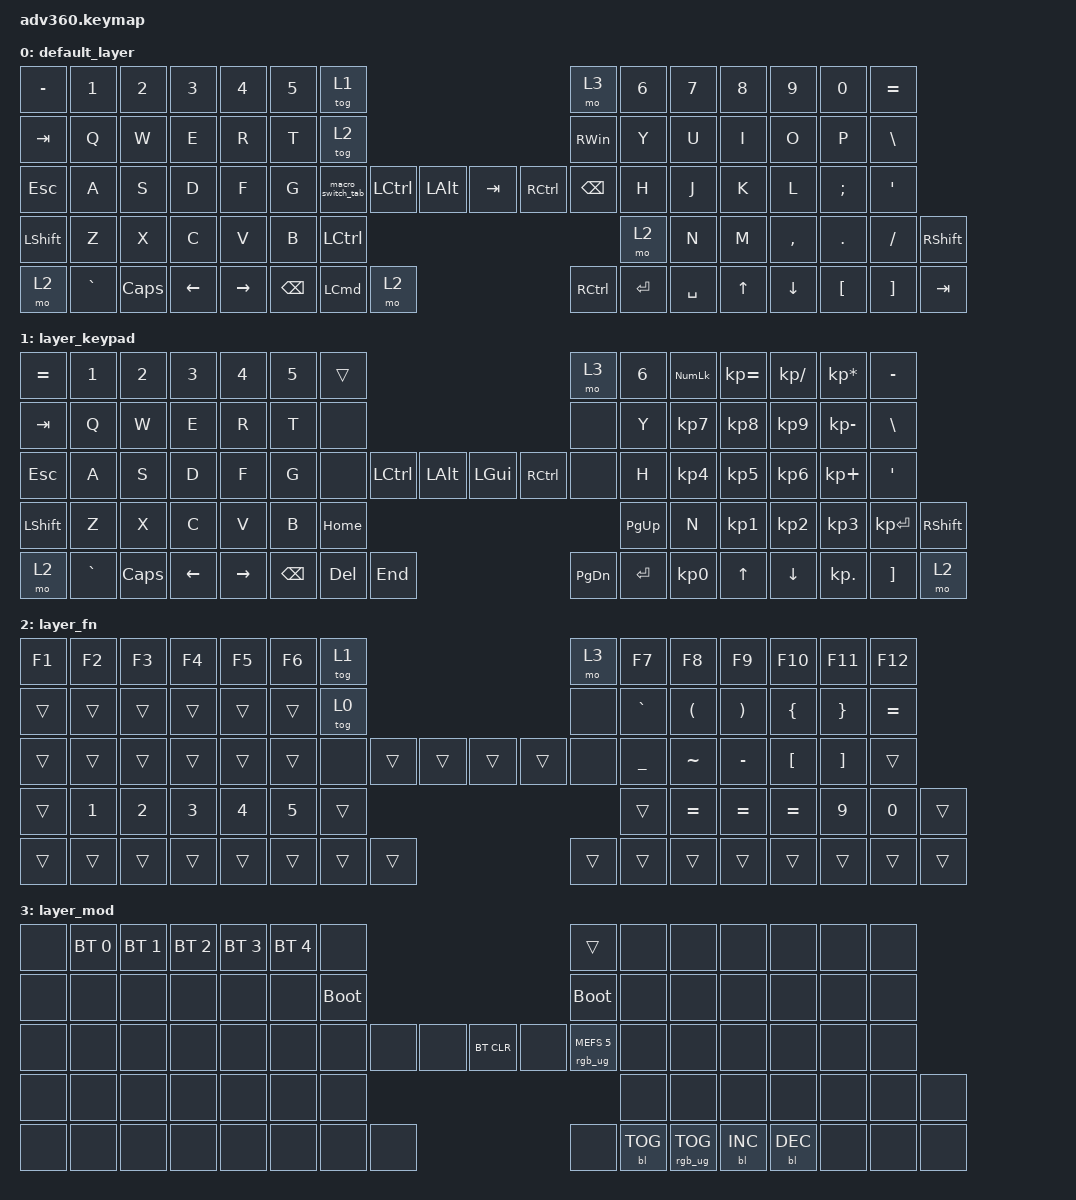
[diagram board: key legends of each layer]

/*
 * Copyright (c) 2020 The ZMK Contributors
 *
 * SPDX-License-Identifier: MIT
 */


/* THIS FILE WAS GENERATED!
 *
 * This file was generated automatically. You may or may not want to
 * edit it directly.
 */

#include <behaviors.dtsi>
#include <dt-bindings/zmk/keys.h>
#include <dt-bindings/zmk/bt.h>
#include <dt-bindings/zmk/rgb.h>
#include <dt-bindings/zmk/backlight.h>

/ {
  behaviors {
    #include "macros.dtsi"
    #include "version.dtsi"

    hm: homerow_mods {
        compatible = "zmk,behavior-hold-tap";
        label = "HOMEROW_MODS";
        #binding-cells = <2>;
        tapping-term-ms = <200>;
        quick_tap_ms = <175>;
        flavor = "tap-preferred";
        bindings = <&kp>, <&kp>;
    };
  };

    keymap {
        compatible = "zmk,keymap";


        default_layer {
            bindings = <
 &kp MINUS     &kp N1    &kp N2    &kp N3     &kp N4  &kp N5                       &tog 1                                                                      &mo 3  &kp N6  &kp N7     &kp N8    &kp N9    &kp N0  &kp EQUAL
   &kp TAB      &kp Q     &kp W     &kp E      &kp R   &kp T                       &tog 2                                                              &kp RIGHT_WIN   &kp Y   &kp U      &kp I     &kp O     &kp P   &kp BSLH
   &kp ESC      &kp A     &kp S     &kp D      &kp F   &kp G            &macro_switch_tab  &kp LCTRL   &kp LALT                    &kp TAB  &kp RCTRL       &kp BSPC   &kp H   &kp J      &kp K     &kp L  &kp SEMI    &kp SQT
 &kp LSHFT      &kp Z     &kp X     &kp C      &kp V   &kp B                                          &kp LCTRL                      &mo 2                             &kp N   &kp M  &kp COMMA   &kp DOT  &kp FSLH  &kp RSHFT
     &mo 2  &kp GRAVE  &kp CAPS  &kp LEFT  &kp RIGHT                        &kp BACKSPACE   &kp LCMD      &mo 2                  &kp RCTRL  &kp ENTER      &kp SPACE          &kp UP   &kp DOWN  &kp LBKT  &kp RBKT    &kp TAB
            >;
        };

        layer_keypad {
            bindings = <
 &kp EQUAL     &kp N1    &kp N2    &kp N3     &kp N4  &kp N5              &trans                                                                 &mo 3  &kp N6  &kp KP_NUM  &kp KP_EQUAL  &kp KP_DIVIDE  &kp KP_MULTIPLY  &kp MINUS
   &kp TAB      &kp Q     &kp W     &kp E      &kp R   &kp T               &none                                                                 &none   &kp Y   &kp KP_N7     &kp KP_N8      &kp KP_N9     &kp KP_MINUS   &kp BSLH
   &kp ESC      &kp A     &kp S     &kp D      &kp F   &kp G               &none  &kp LCTRL  &kp LALT                   &kp LGUI  &kp RCTRL      &none   &kp H   &kp KP_N4     &kp KP_N5      &kp KP_N6      &kp KP_PLUS    &kp SQT
 &kp LSHFT      &kp Z     &kp X     &kp C      &kp V   &kp B                                 &kp HOME                  &kp PG_UP                         &kp N   &kp KP_N1     &kp KP_N2      &kp KP_N3     &kp KP_ENTER  &kp RSHFT
     &mo 2  &kp GRAVE  &kp CAPS  &kp LEFT  &kp RIGHT                    &kp BSPC    &kp DEL   &kp END                  &kp PG_DN  &kp ENTER  &kp KP_N0              &kp UP      &kp DOWN     &kp KP_DOT         &kp RBKT      &mo 2
            >;
        };

        layer_fn {
            bindings = <
 &kp F1        &kp F2        &kp F3  &kp F4  &kp F5  &kp F6            &tog 1                                                   &mo 3          &kp F7                &kp F8                 &kp F9           &kp F10            &kp F11    &kp F12
 &trans        &trans        &trans  &trans  &trans  &trans            &tog 0                                                   &none       &kp GRAVE  &kp LEFT_PARENTHESIS  &kp RIGHT_PARENTHESIS    &kp LEFT_BRACE    &kp RIGHT_BRACE  &kp EQUAL
 &trans        &trans        &trans  &trans  &trans  &trans             &none  &trans  &trans                  &trans  &trans   &none  &kp UNDERSCORE             &kp TILDE              &kp MINUS  &kp LEFT_BRACKET  &kp RIGHT_BRACKET     &trans
 &trans  &kp NUMBER_1  &kp NUMBER_2  &kp N3  &kp N4  &kp N5                            &trans                  &trans                       &kp EQUAL             &kp EQUAL              &kp EQUAL            &kp N9             &kp N0     &trans
 &trans        &trans        &trans  &trans  &trans                    &trans  &trans  &trans                  &trans  &trans  &trans                                &trans                 &trans            &trans             &trans     &trans
            >;
        };

        layer_mod {
            bindings = <
  &none  &bt BT_SEL 0  &bt BT_SEL 1  &bt BT_SEL 2  &bt BT_SEL 3  &bt BT_SEL 4                  &none                                                                          &trans   &none       &none       &none   &none   &none   &none
  &none         &none         &none         &none         &none         &none            &bootloader                                                                     &bootloader   &none       &none       &none   &none   &none   &none
  &none         &none         &none         &none         &none         &none                  &none   &none   &none                  &bt BT_CLR       &none  &rgb_ug RGB_MEFS_CMD 5   &none       &none       &none   &none   &none   &none
  &none         &none         &none         &none         &none         &none                                  &none                       &none                                       &none       &none       &none   &none   &none   &none
  &none         &none         &none         &none         &none                                &none   &none   &none                       &none  &bl BL_TOG         &rgb_ug RGB_TOG          &bl BL_INC  &bl BL_DEC   &none   &none   &none
            >;
        };

    };
};
